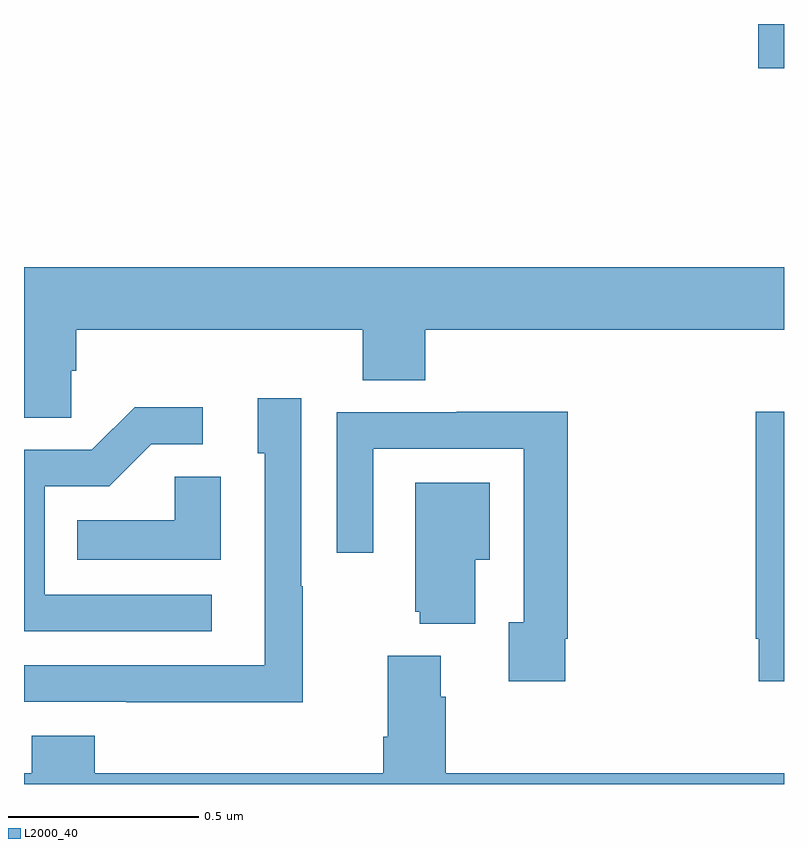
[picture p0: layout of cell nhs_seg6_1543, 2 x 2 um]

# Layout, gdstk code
import gdstk
lib = gdstk.Library(unit=1e-6, precision=1e-09)
def R(c, l, rs):  # rectangles x0, y0, x1, y1
    for r in rs: c.add(gdstk.rectangle(r[:2], r[2:], *l))
def P(c, l, *ps):  # polygons
    for p in ps: c.add(gdstk.Polygon(p, *l))
L2000_40 = (2000, 40)

nhs_seg6_1543 = lib.new_cell('nhs_seg6_1543')
R(nhs_seg6_1543, L2000_40, [(132.932,921.383,133,921.5)])
P(nhs_seg6_1543, L2000_40, [(131.124,920.587),(131.138,920.587),(131.138,920.696),(131.891,920.696),(131.891,920.563),(132.056,920.563),(132.056,920.696),(133,920.696),(133,920.86),(131,920.86),(131,920.464),(131.124,920.464)],
  [(131.733,920.021),(131.73,920.021),(131.73,920.515),(131.615,920.515),(131.615,920.37),(131.634,920.37),(131.634,919.812),(131,919.812),(131,919.716),(131.269,919.716),(131.269,919.715),(131.733,919.715)],
  [(131.494,919.998),(131.055,919.998),(131.055,920.283),(131.224,920.283),(131.335,920.394),(131.47,920.394),(131.47,920.492),(131.291,920.492),(131.178,920.379),(131,920.379),(131,919.902),(131.494,919.902)],
  [(132.424,919.882),(132.431,919.882),(132.431,920.48),(132.139,920.48),(132.139,920.478),(131.823,920.478),(131.823,920.109),(131.919,920.109),(131.919,920.382),(132.315,920.382),(132.315,919.926),(132.275,919.926),(132.275,919.77),(132.424,919.77)],
  [(133,920.48),(132.925,920.48),(132.925,919.882),(132.933,919.882),(132.933,919.77),(133,919.77)],
  [(131.518,920.309),(131.397,920.309),(131.397,920.194),(131.14,920.194),(131.14,920.09),(131.518,920.09)],
  [(132.187,920.09),(132.226,920.09),(132.226,920.293),(132.029,920.293),(132.029,919.953),(132.041,919.953),(132.041,919.922),(132.187,919.922)],
  [(133,919.528),(132.11,919.528),(132.11,919.73),(132.097,919.73),(132.097,919.837),(131.957,919.837),(131.957,919.624),(131.945,919.624),(131.945,919.528),(131.186,919.528),(131.186,919.627),(131.021,919.627),(131.021,919.528),(131,919.528),(131,919.5),(133,919.5)])

lib.write_gds('nhs_seg6_1543.gds')
